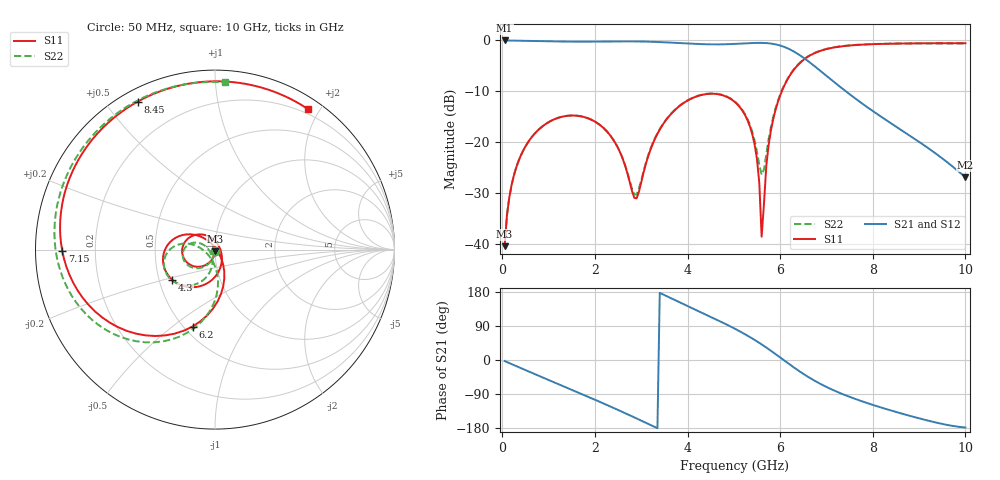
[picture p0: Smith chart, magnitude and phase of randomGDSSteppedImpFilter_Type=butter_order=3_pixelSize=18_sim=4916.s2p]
! freq	dB(S11)	phase(S11)	dB(S12)	phase(S12)
!  dB(S21)	phase(S21)	dB(S22)	phase(S22)
!S-par simulation data
#  GHz  S  DB  R 50
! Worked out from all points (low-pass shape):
!   200 points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, 50 MHz to 10 GHz, reference 50 ohm
!   highest |S21| = 0.00 dB at 50 MHz (marker M1); lowest = -26.8 dB at 10 GHz (marker M2)
!   |S21| within 3 dB of the highest: start of sweep to 6.442 GHz
!   lowest |S11| = -40.3 dB at 50 MHz (marker M3), VSWR 1.02, Z = 49.9 - j0.959 ohm
!   |S11| at or under -10 dB: start of sweep to 6.035 GHz
!   |S22| runs from -40.3 to -0.6 dB; largest |S21 - S12| = 0
!   S11 on the Smith chart (normalised r, x): 50 MHz: 1.00, -0.02; 4.3 GHz: 0.59, -0.22; 6.2 GHz: 0.55, -0.59; 7.15 GHz: 0.08, -0.01; 8.45 GHz: 0.05, +0.60; 10 GHz: 0.14, +1.86
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0.05  -40.34 -92.5  -0.00 -2.7  -0.00 -2.7  -40.34 -92.2
0.2  -28.37 -101.3  -0.02 -10.7  -0.02 -10.7  -28.37 -100.3
0.5  -20.79 -118.3  -0.07 -26.6  -0.07 -26.6  -20.78 -115.5
1.15  -15.37 -154.5  -0.20 -60.6  -0.20 -60.6  -15.36 -147.6
1.75  -14.99 171.4  -0.25 -91.7  -0.25 -91.7  -14.98 -175.9
2.4  -19.52 128.1  -0.20 -126.3  -0.20 -126.3  -19.50 158.7
2.9  -30.97 13.8  -0.20 -154.2  -0.20 -154.2  -30.22 -143.5
3.4  -17.48 -84.0  -0.32 177.1  -0.32 177.1  -17.39 -103.7
4.3  -10.70 -144.7  -0.73 125.6  -0.73 125.6  -10.65 -143.9
5.05  -12.30 167.1  -0.67 80.8  -0.67 80.8  -12.20 178.6
5.45  -20.48 135.1  -0.49 52.9  -0.49 52.9  -19.67 169.0
5.55  -27.99 120.8  -0.48 45.2  -0.48 45.2  -24.40 -173.2
5.6  -38.50 81.2  -0.48 41.2  -0.48 41.2  -26.35 -146.8
5.7  -24.71 -53.9  -0.52 33.0  -0.52 33.0  -22.31 -95.3
5.8  -17.68 -66.9  -0.61 24.5  -0.61 24.5  -17.00 -84.5
6.2  -7.00 -106.3  -1.71 -11.2  -1.71 -11.2  -6.89 -104.8
6.7  -2.68 -149.2  -4.74 -51.6  -4.74 -51.6  -2.62 -141.0
7.15  -1.40 -179.4  -8.05 -79.7  -8.05 -79.7  -1.36 -167.2
8.35  -0.65 121.9  -15.99 -131.6  -15.99 -131.6  -0.63 142.9
8.45  -0.63 117.6  -16.59 -135.2  -16.59 -135.2  -0.62 139.3
9.2  -0.56 87.2  -21.14 -160.2  -21.14 -160.2  -0.57 113.6
10  -0.55 56.3  -26.82 -178.1  -26.82 -178.1  -0.60 86.7
